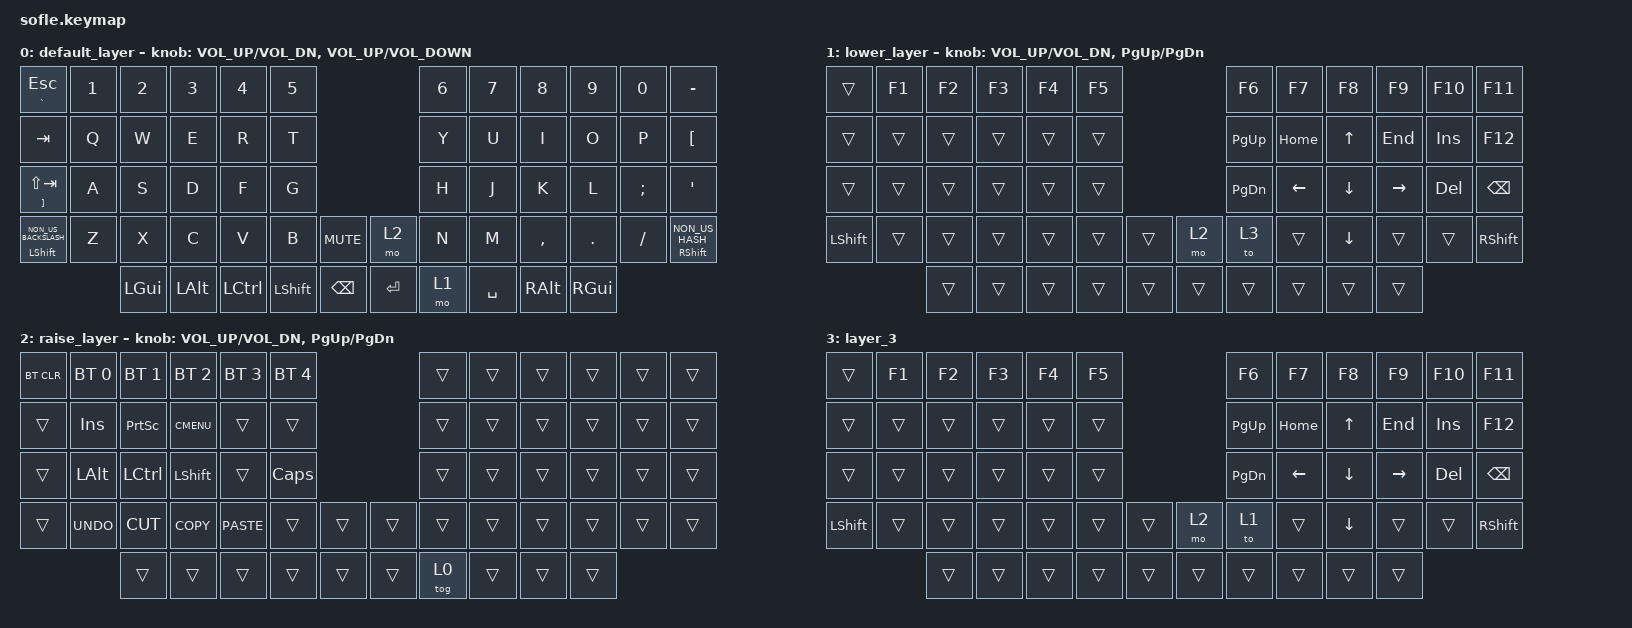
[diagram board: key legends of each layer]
/*
 * Copyright (c) 2020 The ZMK Contributors
 *
 * SPDX-License-Identifier: MIT
 */

#include <behaviors.dtsi>
#include <dt-bindings/zmk/keys.h>
#include <dt-bindings/zmk/bt.h>

/ {
    behaviors {
        HoldChr: HoldChr {
            compatible = "zmk,behavior-hold-tap";
            label = "HOLDCHR";
            bindings =
                <&kp>,
                <&kp>;

            #binding-cells = <2>;
            tapping-term-ms = <135>;
            quick-tap-ms = <0>;
            flavor = "tap-preferred";
            hold-trigger-key-positions = <17 29>;
        };
        mo_tog: mo_tog {
            compatible = "zmk,behavior-hold-tap";
            label = "MO_TOG";
            bindings =
                <&mo>,
                <&tog>;

            #binding-cells = <2>;
            tapping-term-ms = <200>;
        };
    };

    macros {
    };

    keymap {
        compatible = "zmk,keymap";

        default_layer {
            // ------------------------------------------------------------------------------------------------------------
            // |  `    |  1  |  2  |  3   |  4   |  5   |                   |  6   |  7    |  8    |  9   |   0   |       |
            // |  ESC  |  Q  |  W  |  E   |  R   |  T   |                   |  Y   |  U    |  I    |  O   |   P   | BKSPC |
            // |  TAB  |  A  |  S  |  D   |  F   |  G   |                   |  H   |  J    |  K    |  L   |   ;   |   '   |
            // | SHIFT |  Z  |  X  |  C   |  V   |  B   |  MUTE  |  |       |  N   |  M    |  ,    |  .   |   /   | SHIFT |
            //               | GUI | ALT  | CTRL | LOWER|  ENTER |  | SPACE | RAISE| CTRL  | ALT   | GUI  |

            bindings = <
             &HoldChr GRAVE ESC  &kp N1    &kp N2        &kp N3     &kp N4          &kp N5                          &kp N6     &kp N7         &kp N8    &kp N9         &kp N0                    &kp MINUS
                        &kp TAB   &kp Q     &kp W         &kp E      &kp R           &kp T                           &kp Y      &kp U          &kp I     &kp O          &kp P             &kp LEFT_BRACKET
 &HoldChr RIGHT_BRACKET LS(TAB)   &kp A     &kp S         &kp D      &kp F           &kp G                           &kp H      &kp J          &kp K     &kp L  &kp SEMICOLON               &kp APOSTROPHE
&mt LEFT_SHIFT NON_US_BACKSLASH   &kp Z     &kp X         &kp C      &kp V           &kp B     &kp C_MUTE    &mo 2   &kp N      &kp M      &kp COMMA   &kp DOT       &kp FSLH  &mt RIGHT_SHIFT NON_US_HASH
                                         &kp LGUI  &kp LEFT_ALT  &kp LCTRL  &kp LEFT_SHIFT  &kp BACKSPACE  &kp RET   &mo 1  &kp SPACE  &kp RIGHT_ALT  &kp RGUI
            >;

            sensor-bindings =
                <&inc_dec_kp C_VOL_UP C_VOL_DN>,
                <&inc_dec_kp C_VOLUME_UP C_VOLUME_DOWN>;
        };

        lower_layer {
            // TODO: Some binds are waiting for shifted keycode support.
            // ------------------------------------------------------------------------------------------------------------
            // |       |  F1 |  F2 |  F3  |  F4  |  F5  |                   |  F6  |  F7   |  F8   |  F9  |  F10  |  F11  |
            // | `     |   1 |   2 |   3  |   4  |   5  |                   |   6  |   7   |   8   |   9  |    0  |  F12  |
            // |       |  !  |  @  |  #   |  $   |  %   |                   |  ^   |  &    |  *    |  (   |   )   |   |   |
            // |       |  =  |  -  |  +   |  {   |  }   |        |  |       |  [   |  ]    |  ;    |  :   |   \   |       |
            //               |     |      |      |      |        |  |       |      |       |       |      |

            bindings = <
        &trans  &kp F1  &kp F2  &kp F3  &kp F4  &kp F5                         &kp F6    &kp F7    &kp F8     &kp F9  &kp F10        &kp F11
        &trans  &trans  &trans  &trans  &trans  &trans                    &kp PAGE_UP  &kp HOME    &kp UP    &kp END  &kp INS        &kp F12
        &trans  &trans  &trans  &trans  &trans  &trans                  &kp PAGE_DOWN  &kp LEFT  &kp DOWN  &kp RIGHT  &kp DEL  &kp BACKSPACE
&kp LEFT_SHIFT  &trans  &trans  &trans  &trans  &trans  &trans   &mo 2          &to 3    &trans  &kp DOWN     &trans   &trans     &kp RSHIFT
                        &trans  &trans  &trans  &trans  &trans  &trans         &trans    &trans    &trans     &trans
            >;

            sensor-bindings = <&inc_dec_kp C_VOL_UP C_VOL_DN &inc_dec_kp PG_UP PG_DN>;
        };

        raise_layer {
            // ------------------------------------------------------------------------------------------------------------
            // |BTCLR| BT1  | BT2  |  BT3  |  BT4  |  BT5 |                |      |      |       |      |       |       |
            // |     | INS  | PSCR | GUI   |       |      |                | PGUP |      |   ^   |      |       |       |
            // |     | ALT  | CTRL | SHIFT |       | CAPS |                | PGDN |   <- |   v   |  ->  |  DEL  | BKSPC |
            // |     | UNDO | CUT  | COPY  | PASTE |      |      |  |      |      |      |       |      |       |       |
            //              |      |       |       |      |      |  |      |      |      |       |      |

            bindings = <
&bt BT_CLR  &bt BT_SEL 0  &bt BT_SEL 1  &bt BT_SEL 2  &bt BT_SEL 3  &bt BT_SEL 4                  &trans  &trans  &trans  &trans  &trans  &trans
    &trans       &kp INS     &kp PSCRN   &kp K_CMENU        &trans        &trans                  &trans  &trans  &trans  &trans  &trans  &trans
    &trans      &kp LALT     &kp LCTRL     &kp LSHFT        &trans      &kp CLCK                  &trans  &trans  &trans  &trans  &trans  &trans
    &trans    &kp K_UNDO     &kp K_CUT    &kp K_COPY   &kp K_PASTE        &trans  &trans  &trans  &trans  &trans  &trans  &trans  &trans  &trans
                                &trans        &trans        &trans        &trans  &trans  &trans  &tog 0  &trans  &trans  &trans
            >;

            sensor-bindings = <&inc_dec_kp C_VOL_UP C_VOL_DN &inc_dec_kp PG_UP PG_DN>;
        };

        layer_3 {
            bindings = <
        &trans  &kp F1  &kp F2  &kp F3  &kp F4  &kp F5                         &kp F6    &kp F7    &kp F8     &kp F9  &kp F10        &kp F11
        &trans  &trans  &trans  &trans  &trans  &trans                    &kp PAGE_UP  &kp HOME    &kp UP    &kp END  &kp INS        &kp F12
        &trans  &trans  &trans  &trans  &trans  &trans                  &kp PAGE_DOWN  &kp LEFT  &kp DOWN  &kp RIGHT  &kp DEL  &kp BACKSPACE
&kp LEFT_SHIFT  &trans  &trans  &trans  &trans  &trans  &trans   &mo 2          &to 1    &trans  &kp DOWN     &trans   &trans     &kp RSHIFT
                        &trans  &trans  &trans  &trans  &trans  &trans         &trans    &trans    &trans     &trans
            >;
        };
    };
};
